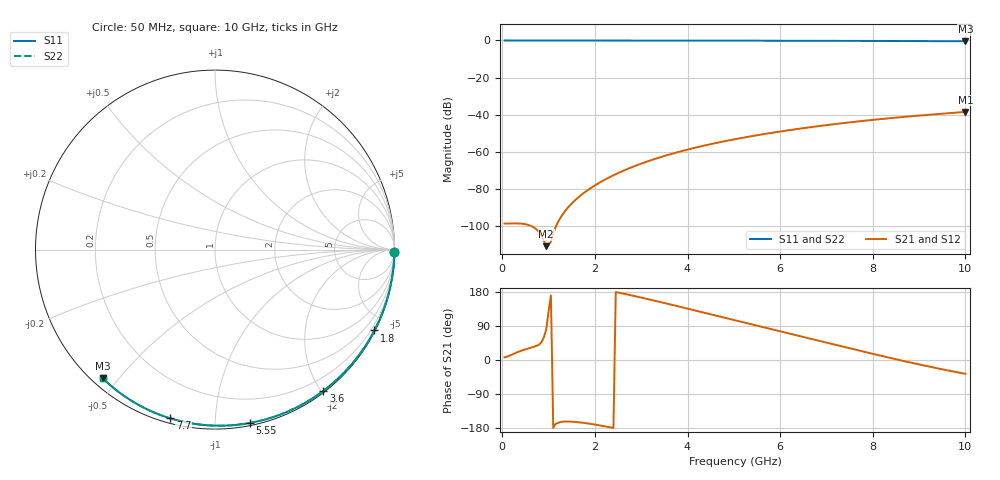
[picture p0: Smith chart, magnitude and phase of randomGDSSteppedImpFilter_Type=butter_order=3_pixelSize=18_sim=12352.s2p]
! freq	dB(S11)	phase(S11)	dB(S12)	phase(S12)
!  dB(S21)	phase(S21)	dB(S22)	phase(S22)
!S-par simulation data
#  GHz  S  DB  R 50
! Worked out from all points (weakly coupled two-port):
!   200 points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, 50 MHz to 10 GHz, reference 50 ohm
!   highest |S21| = -38.53 dB at 10 GHz (marker M1); lowest = -111.0 dB at 950 MHz (marker M2)
!   lowest |S11| = -0.4 dB at 10 GHz (marker M3), VSWR 39.90, Z = 1.51 - j22.7 ohm
!   |S11| at or under -10 dB: nowhere
!   |S22| runs from -0.4 to 0.0 dB; largest |S21 - S12| = 0
!   S11 on the Smith chart (normalised r, x): 50 MHz: open; 1.8 GHz: 0.04, -4.19; 3.6 GHz: 0.02, -2.03; 5.55 GHz: 0.02, -1.22; 7.7 GHz: 0.02, -0.77; 10 GHz: 0.03, -0.45
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0.05  -0.00 -0.8  -98.81 7.0  -98.81 7.0  -0.00 -0.8
0.5  -0.01 -7.6  -99.17 28.1  -99.17 28.1  -0.01 -7.6
0.95  -0.02 -14.3  -111.01 81.7  -111.01 81.7  -0.02 -14.3
1.75  -0.03 -26.1  -82.48 -165.8  -82.48 -165.8  -0.03 -26.1
1.8  -0.03 -26.9  -81.54 -166.6  -81.54 -166.6  -0.03 -26.9
1.9  -0.04 -28.3  -79.81 -168.4  -79.81 -168.4  -0.04 -28.3
2.05  -0.04 -30.5  -77.44 -171.4  -77.44 -171.4  -0.04 -30.5
2.25  -0.04 -33.4  -74.63 -175.9  -74.63 -175.9  -0.04 -33.4
2.65  -0.05 -39.2  -69.91 174.2  -69.91 174.2  -0.05 -39.2
3  -0.06 -44.2  -66.46 164.7  -66.46 164.7  -0.06 -44.2
3.4  -0.07 -49.8  -63.09 153.3  -63.09 153.3  -0.07 -49.8
3.6  -0.07 -52.6  -61.58 147.5  -61.58 147.5  -0.07 -52.6
3.9  -0.08 -56.7  -59.52 138.6  -59.52 138.6  -0.08 -56.7
4.3  -0.09 -62.1  -57.06 126.6  -57.06 126.6  -0.09 -62.1
5.05  -0.11 -72.0  -53.16 104.1  -53.16 104.1  -0.11 -72.0
5.55  -0.13 -78.5  -50.94 89.1  -50.94 89.1  -0.13 -78.5
6.1  -0.15 -85.5  -48.76 72.7  -48.76 72.7  -0.15 -85.5
6.7  -0.18 -92.9  -46.64 54.8  -46.64 54.8  -0.18 -92.9
7.7  -0.24 -104.8  -43.63 25.1  -43.63 25.1  -0.24 -104.8
8.35  -0.29 -112.4  -41.99 6.2  -41.99 6.2  -0.29 -112.4
9.15  -0.35 -121.6  -40.24 -15.7  -40.24 -15.7  -0.35 -121.6
10  -0.44 -131.1  -38.53 -36.4  -38.53 -36.4  -0.44 -131.1
